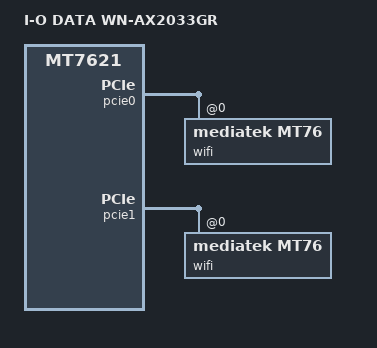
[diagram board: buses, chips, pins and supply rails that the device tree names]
// SPDX-License-Identifier: GPL-2.0-or-later OR MIT

#include "mt7621_iodata_wn-xx-xr.dtsi"

/ {
	compatible = "iodata,wn-ax2033gr", "mediatek,mt7621-soc";
	model = "I-O DATA WN-AX2033GR";
};

&partitions {
	partition@6b00000 {
		label = "Backup";
		reg = <0x6b00000 0x1480000>;
		read-only;
	};
};

&pcie0 {
	wifi@0,0 {
		compatible = "mediatek,mt76";
		reg = <0x0000 0 0 0 0>;

		mediatek,mtd-eeprom = <&factory 0x0>;
		ieee80211-freq-limit = <2400000 2483000>;
	};
};

&pcie1 {
	wifi@0,0 {
		compatible = "mediatek,mt76";
		reg = <0x0000 0 0 0 0>;

		mediatek,mtd-eeprom = <&factory 0x8000>;
		ieee80211-freq-limit = <5000000 5710000>;
	};
};
